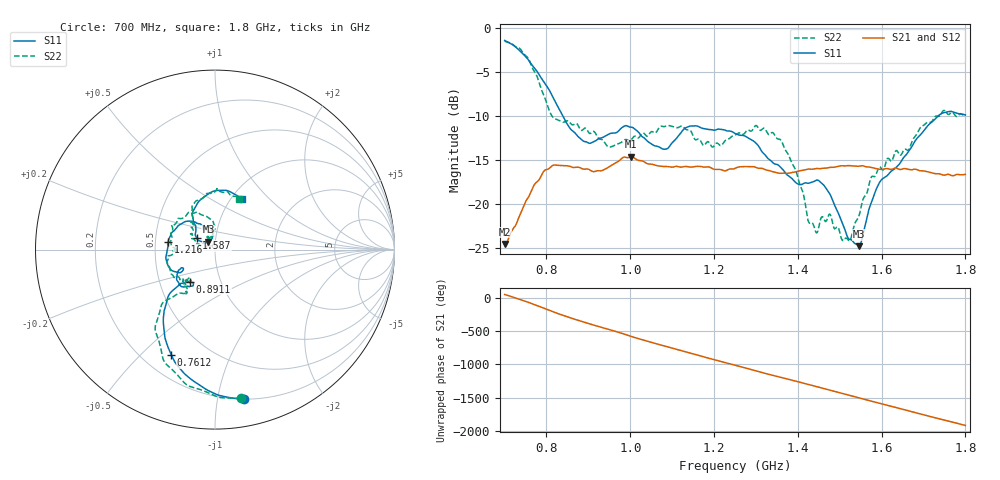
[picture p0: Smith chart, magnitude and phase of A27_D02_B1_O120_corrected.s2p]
! Created with skrf 1.9.0 (http://scikit-rf.org).
# Hz S RI R 50.0
!freq ReS11 ImS11 ReS21 ImS21 ReS12 ImS12 ReS22 ImS22
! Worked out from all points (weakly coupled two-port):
!   1601 points, 700 MHz to 1.8 GHz, reference 50 ohm
!   highest |S21| = -14.64 dB at 1.002 GHz (marker M1); lowest = -24.6 dB at 700.7 MHz (marker M2)
!   lowest |S11| = -24.8 dB at 1.546 GHz (marker M3), VSWR 1.12, Z = 46.3 + j4.13 ohm
!   |S11| at or under -10 dB: 838.9 MHz to 1.735 GHz (895.9 MHz wide, 69.6 % of centre)
!   |S22| runs from -24.2 to -1.5 dB; largest |S21 - S12| = 0.0034
!   S11 on the Smith chart (normalised r, x): 700 MHz: 0.20, -1.19; 761.2 MHz: 0.32, -0.62; 891.1 MHz: 0.71, -0.27; 1.216 GHz: 0.58, +0.05; 1.587 GHz: 0.81, +0.11; 1.8 GHz: 1.12, +0.71
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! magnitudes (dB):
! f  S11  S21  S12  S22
! 700 MHz  -1.4  -24.6  -24.4  -1.5
! 700.7 MHz  -1.4  -24.6  -24.3  -1.5
! 761.2 MHz  -3.9  -18.8  -18.7  -3.9
! 814.1 MHz  -7.7  -15.6  -15.7  -10.1
! 883.6 MHz  -12.7  -16.0  -15.9  -11.6
! 891.1 MHz  -12.9  -16.1  -16.1  -11.4
! 949.6 MHz  -12.0  -15.8  -15.8  -13.5
! 1.002 GHz  -11.3  -14.6  -14.7  -12.7
! 1.067 GHz  -13.5  -15.7  -15.6  -11.5
! 1.14 GHz  -11.2  -15.8  -15.8  -11.6
! 1.216 GHz  -11.5  -16.1  -16.1  -13.4
! 1.25 GHz  -12.0  -16.0  -15.9  -12.2
! 1.301 GHz  -13.1  -15.9  -15.8  -11.1
! 1.359 GHz  -15.9  -16.5  -16.5  -12.7
! 1.434 GHz  -17.5  -16.1  -16.0  -22.2
! 1.471 GHz  -18.5  -15.9  -15.9  -21.6
! 1.522 GHz  -24.0  -15.6  -15.7  -24.2
! 1.546 GHz  -24.8  -15.7  -15.7  -21.3
! 1.587 GHz  -18.4  -16.0  -16.0  -16.6
! 1.617 GHz  -16.6  -16.0  -16.0  -14.8
! 1.738 GHz  -9.9  -16.6  -16.6  -10.0
! 1.8 GHz  -9.9  -16.7  -16.6  -10.0
